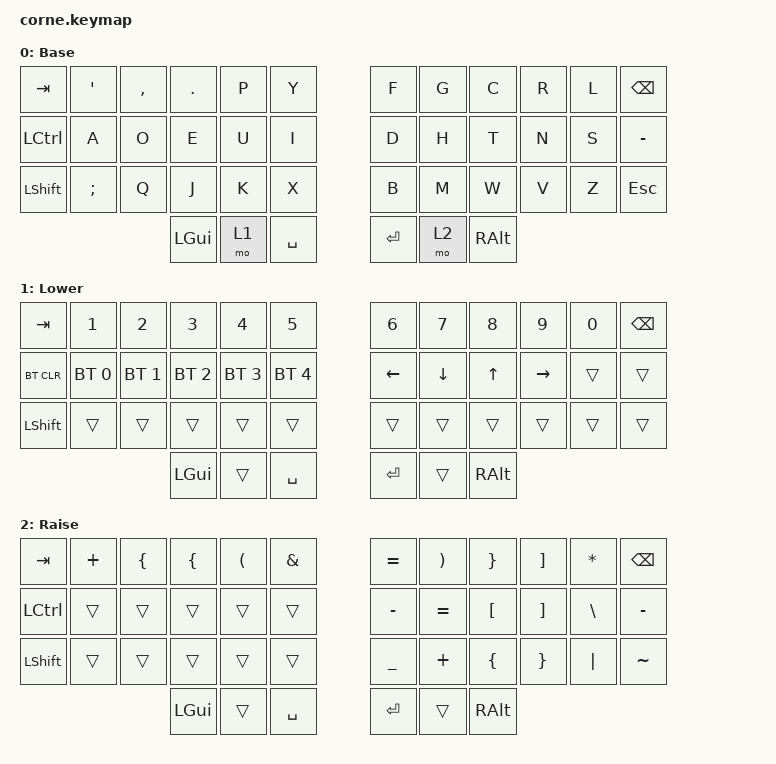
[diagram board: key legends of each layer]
/*
 * Copyright (c) 2020 The ZMK Contributors
 *
 * SPDX-License-Identifier: MIT
 */

#include <behaviors.dtsi>
#include <dt-bindings/zmk/bt.h>
#include <dt-bindings/zmk/keys.h>

/ {
    keymap {
        compatible = "zmk,keymap";

        default_layer {
            // -----------------------------------------------------------------------------------------
            // |  TAB |  Q  |  W  |  E  |  R  |  T  |   |  Y  |  U   |  I  |  O  |  P  | BKSP |
            // | CTRL |  A  |  S  |  D  |  F  |  G  |   |  H  |  J   |  K  |  L  |  ;  |  '   |
            // | SHFT |  Z  |  X  |  C  |  V  |  B  |   |  N  |  M   |  ,  |  .  |  /  | ESC  |
            //                    | GUI | LWR | SPC |   | ENT | RSE  | ALT |

            label = "Base";
            bindings = <
  &kp TAB   &kp SQT  &kp COMMA   &kp DOT  &kp P      &kp Y      &kp F  &kp G     &kp C  &kp R  &kp L   &kp BSPC
&kp LCTRL     &kp A      &kp O     &kp E  &kp U      &kp I      &kp D  &kp H     &kp T  &kp N  &kp S  &kp MINUS
&kp LSHFT  &kp SEMI      &kp Q     &kp J  &kp K      &kp X      &kp B  &kp M     &kp W  &kp V  &kp Z    &kp ESC
                                &kp LGUI  &mo 1  &kp SPACE    &kp RET  &mo 2  &kp RALT
            >;
        };

        lower_layer {
            // -----------------------------------------------------------------------------------------
            // |  TAB |  1  |  2  |  3  |  4  |  5  |   |  6  |  7  |  8  |  9  |  0  | BKSP |
            // | BTCLR| BT1 | BT2 | BT3 | BT4 | BT5 |   | LFT | DWN |  UP | RGT |     |      |
            // | SHFT |     |     |     |     |     |   |     |     |     |     |     |      |
            //                    | GUI |     | SPC |   | ENT |     | ALT |

            label = "Lower";
            bindings = <
   &kp TAB        &kp N1        &kp N2        &kp N3        &kp N4        &kp N5      &kp N6    &kp N7    &kp N8     &kp N9  &kp N0  &kp BSPC
&bt BT_CLR  &bt BT_SEL 0  &bt BT_SEL 1  &bt BT_SEL 2  &bt BT_SEL 3  &bt BT_SEL 4    &kp LEFT  &kp DOWN    &kp UP  &kp RIGHT  &trans    &trans
 &kp LSHFT        &trans        &trans        &trans        &trans        &trans      &trans    &trans    &trans     &trans  &trans    &trans
                                            &kp LGUI        &trans     &kp SPACE     &kp RET    &trans  &kp RALT
            >;
        };

        raise_layer {
            // -----------------------------------------------------------------------------------------
            // |  TAB |  !  |  @  |  #  |  $  |  %  |   |  ^  |  &  |  *  |  (  |  )  | BKSP |
            // | CTRL |     |     |     |     |     |   |  -  |  =  |  [  |  ]  |  \  |  `   |
            // | SHFT |     |     |     |     |     |   |  _  |  +  |  {  |  }  | "|" |  ~   |
            //                    | GUI |     | SPC |   | ENT |     | ALT |

            label = "Raise";
            bindings = <
  &kp TAB  &kp PLUS  &kp LBRC  &kp LBRC  &kp LPAR   &kp AMPS    &kp EQUAL   &kp RPAR  &kp RBRC  &kp RBKT  &kp ASTRK   &kp BSPC
&kp LCTRL    &trans    &trans    &trans    &trans     &trans    &kp MINUS  &kp EQUAL  &kp LBKT  &kp RBKT   &kp BSLH  &kp MINUS
&kp LSHFT    &trans    &trans    &trans    &trans     &trans    &kp UNDER   &kp PLUS  &kp LBRC  &kp RBRC   &kp PIPE  &kp TILDE
                               &kp LGUI    &trans  &kp SPACE      &kp RET     &trans  &kp RALT
            >;
        };
    };
};
